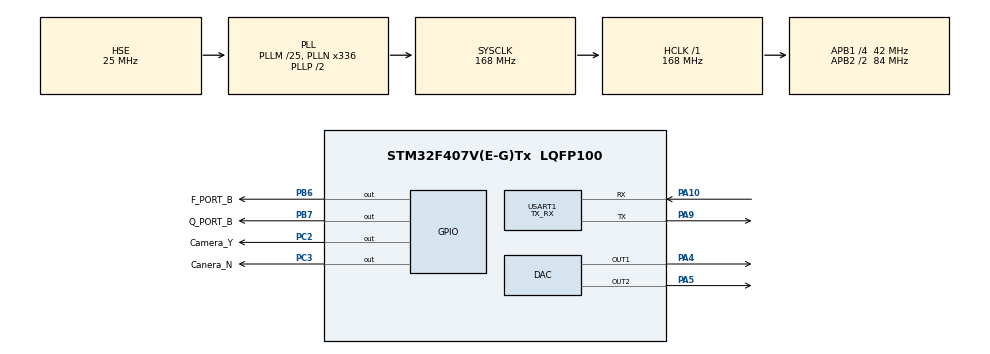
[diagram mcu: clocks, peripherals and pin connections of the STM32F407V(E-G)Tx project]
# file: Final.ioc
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DAC.DAC_OutputBuffer2=DAC_OUTPUTBUFFER_ENABLE
DAC.DAC_Trigger=DAC_TRIGGER_T6_TRGO
DAC.DAC_Trigger2=DAC_TRIGGER_NONE
DAC.TriangleAmplitude=DAC_TRIANGLEAMPLITUDE_511
DAC.WaveGeneration=TriangleWaveGeneration
Mcu.Family=STM32F4
Mcu.Name=STM32F407V(E-G)Tx
Mcu.Package=LQFP100
NVIC.PriorityGroup=NVIC_PRIORITYGROUP_4
NVIC.TIM2_IRQn=true\:3\:0\:true\:false\:true\:true\:true
NVIC.TIM3_IRQn=true\:4\:0\:true\:false\:true\:true\:true
NVIC.TIM7_IRQn=true\:2\:0\:true\:false\:true\:true\:true
NVIC.USART1_IRQn=true\:1\:0\:true\:false\:true\:true\:true
PA10.Mode=Asynchronous
PA10.Signal=USART1_RX
PA13.Mode=Serial_Wire
PA13.Signal=SYS_JTMS-SWDIO
PA14.Mode=Serial_Wire
PA14.Signal=SYS_JTCK-SWCLK
PA4.Signal=COMP_DAC1_group
PA5.Signal=COMP_DAC2_group
PA9.Mode=Asynchronous
PA9.Signal=USART1_TX
PB6.GPIO_Label=F_PORT_B
PB6.Signal=GPIO_Output
PB7.GPIO_Label=Q_PORT_B
PB7.Signal=GPIO_Output
PC2.GPIO_Label=Camera_Y
PC2.GPIO_Speed=GPIO_SPEED_FREQ_LOW
PC2.Signal=GPIO_Output
PC3.GPIO_Label=Canera_N
PC3.Signal=GPIO_Output
PH0-OSC_IN.Mode=HSE-External-Oscillator
PH0-OSC_IN.Signal=RCC_OSC_IN
PH1-OSC_OUT.Mode=HSE-External-Oscillator
PH1-OSC_OUT.Signal=RCC_OSC_OUT
ProjectManager.HeapSize=0x200
ProjectManager.StackSize=0x400
ProjectManager.TargetToolchain=MDK-ARM V5.27
RCC.48MHZClocksFreq_Value=84000000
RCC.AHBFreq_Value=168000000
RCC.APB1CLKDivider=RCC_HCLK_DIV4
RCC.APB1Freq_Value=42000000
RCC.APB1TimFreq_Value=84000000
RCC.APB2CLKDivider=RCC_HCLK_DIV2
RCC.APB2Freq_Value=84000000
RCC.APB2TimFreq_Value=168000000
RCC.CortexFreq_Value=168000000
RCC.HCLKFreq_Value=168000000
RCC.HSE_VALUE=25000000
RCC.HSI_VALUE=16000000
RCC.LSE_VALUE=32768
RCC.PLLM=25
RCC.PLLN=336
RCC.PLLSourceVirtual=RCC_PLLSOURCE_HSE
RCC.SYSCLKFreq_VALUE=168000000
RCC.SYSCLKSource=RCC_SYSCLKSOURCE_PLLCLK
RCC.VCOOutputFreq_Value=336000000
SH.COMP_DAC1_group.0=DAC_OUT1,DAC_OUT1
SH.COMP_DAC2_group.0=DAC_OUT2,DAC_OUT2
TIM2.Period=8421-1
TIM2.Prescaler=20000-1
TIM3.Period=100-1
TIM3.Prescaler=8400-1
TIM6.Period=10-1
TIM6.Prescaler=8400-1
TIM6.TIM_MasterOutputTrigger=TIM_TRGO_UPDATE
TIM7.Period=1000-1
TIM7.Prescaler=8400-1
TIM7.TIM_MasterOutputTrigger=TIM_TRGO_UPDATE
USART1.Mode=MODE_TX_RX
USART1.VirtualMode=VM_ASYNC
VP_TIM2_VS_ClockSourceINT.Mode=Internal
VP_TIM3_VS_ClockSourceINT.Mode=Internal
VP_TIM6_VS_ClockSourceINT.Mode=Enable_Timer
VP_TIM7_VS_ClockSourceINT.Mode=Enable_Timer
board=custom

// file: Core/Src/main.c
/* USER CODE BEGIN Header */
/**
  ******************************************************************************
  * @file           : main.c
  * @brief          : Main program body
  ******************************************************************************
  * @attention
  *
  * <h2><center>&copy; Copyright (c) 2021 STMicroelectronics.
  * All rights reserved.</center></h2>
  *
  * This software component is licensed by ST under BSD 3-Clause license,
  * the "License"; You may not use this file except in compliance with the
  * License. You may obtain a copy of the License at:
  *                        opensource.org/licenses/BSD-3-Clause
  *
  ******************************************************************************
  */
/* USER CODE END Header */
#include "main.h"
#include "dac.h"
#include "tim.h"
#include "usart.h"
#include "gpio.h"

/* USER CODE BEGIN Includes */

#include "stdio.h"
#include "string.h"

/* USER CODE END Includes */

/* USER CODE BEGIN PTD */
typedef enum {INIT=1,START,STOP} MT_MOTION;   //为枚举类型命名一个标签为MT_MOTION
MT_MOTION mt_motion = INIT;                   //定义一个枚举型的变量mt_motion   注：枚举类型本身就是整数类型
/* USER CODE END PTD */

/* USER CODE BEGIN PD */
#define AVERVIM  5
#define BEGINVIM 65
/* USER CODE END PD */

/* USER CODE BEGIN PV */
uint8_t uart1TX;
char RxBuffer[4];
int initial = BEGINVIM ;
int addv = AVERVIM ;
int count = 1;

//volatile uint16_t AdcRes[2];  //volatile 表示定义的变量是易变的，定时器不要优化
/* USER CODE END PV */

void SystemClock_Config(void);

/* USER CODE BEGIN 0 */
int fputc (int ch, FILE *f)   //输出重定向到串口1
{
    HAL_UART_Transmit(&huart1, (uint8_t *)&ch, 1, 1000);
    return ch;
}
/* USER CODE END 0 */

int main(void)
{

  /* MCU Configuration--------------------------------------------------------*/

  /* Reset of all peripherals, Initializes the Flash interface and the Systick. */
  HAL_Init();

  /* Configure the system clock */
  SystemClock_Config();

  /* Initialize all configured peripherals */
  MX_GPIO_Init();
  MX_DAC_Init();
  MX_TIM6_Init();
  MX_USART1_UART_Init();
  MX_TIM7_Init();
  MX_TIM2_Init();
  MX_TIM3_Init();
  /* USER CODE BEGIN 2 */
 HAL_UART_Receive_IT(&huart1,(uint8_t *)RxBuffer,3);   //开启接收中断，等待数据,3个字节进一次中断

  /* USER CODE END 2 */

  /* Infinite loop */
  /* USER CODE BEGIN WHILE */
  while (1)
  {
      switch(mt_motion)
      {
          case START:
						 HAL_TIM_Base_Start_IT(&htim2);  //开启定时器2，Y振镜输出
					   HAL_Delay(50);
						 HAL_TIM_Base_Start(&htim6);     //开启定时器6自动生成x振镜三角波
             HAL_TIM_Base_Start_IT(&htim7);  //开启定时器7且中断使能，激光输出
             mt_motion = INIT;
              break;

          case INIT:

              break;

          case STOP:
              HAL_TIM_Base_Stop(&htim6);         //停止振镜X并保持原有状态
              HAL_TIM_Base_Stop_IT(&htim7);      //停激光
					    HAL_TIM_Base_Stop_IT(&htim2);      //停Y振镜
              HAL_GPIO_WritePin(GPIOB, F_PORT_B_Pin|Q_PORT_B_Pin, GPIO_PIN_RESET);  //设置GPIO输出低电平

			}

    /* USER CODE END WHILE */

  }
}

void SystemClock_Config(void)
{
  RCC_OscInitTypeDef RCC_OscInitStruct = {0};
  RCC_ClkInitTypeDef RCC_ClkInitStruct = {0};

  /** Configure the main internal regulator output voltage
  */
  __HAL_RCC_PWR_CLK_ENABLE();
  __HAL_PWR_VOLTAGESCALING_CONFIG(PWR_REGULATOR_VOLTAGE_SCALE1);
  /** Initializes the RCC Oscillators according to the specified parameters
  * in the RCC_OscInitTypeDef structure.
  */
  RCC_OscInitStruct.OscillatorType = RCC_OSCILLATORTYPE_HSE;
  RCC_OscInitStruct.HSEState = RCC_HSE_ON;
  RCC_OscInitStruct.PLL.PLLState = RCC_PLL_ON;
  RCC_OscInitStruct.PLL.PLLSource = RCC_PLLSOURCE_HSE;
  RCC_OscInitStruct.PLL.PLLM = 25;
  RCC_OscInitStruct.PLL.PLLN = 336;
  RCC_OscInitStruct.PLL.PLLP = RCC_PLLP_DIV2;
  RCC_OscInitStruct.PLL.PLLQ = 4;
  if (HAL_RCC_OscConfig(&RCC_OscInitStruct) != HAL_OK)
  {
    Error_Handler();
  }
  /** Initializes the CPU, AHB and APB buses clocks
  */
  RCC_ClkInitStruct.ClockType = RCC_CLOCKTYPE_HCLK|RCC_CLOCKTYPE_SYSCLK
                              |RCC_CLOCKTYPE_PCLK1|RCC_CLOCKTYPE_PCLK2;
  RCC_ClkInitStruct.SYSCLKSource = RCC_SYSCLKSOURCE_PLLCLK;
  RCC_ClkInitStruct.AHBCLKDivider = RCC_SYSCLK_DIV1;
  RCC_ClkInitStruct.APB1CLKDivider = RCC_HCLK_DIV4;
  RCC_ClkInitStruct.APB2CLKDivider = RCC_HCLK_DIV2;

  if (HAL_RCC_ClockConfig(&RCC_ClkInitStruct, FLASH_LATENCY_5) != HAL_OK)
  {
    Error_Handler();
  }
}

/* USER CODE BEGIN 4 */
void HAL_UART_RxCpltCallback(UART_HandleTypeDef* huart)  //串口中断回调函数
{

    if(strcmp(RxBuffer,"stt") == 0 )
    {
			  printf("Start to work");
        mt_motion = START;
    }

    else if(strcmp(RxBuffer,"stp") == 0)
    {
			  printf("Stop working");
        mt_motion = STOP;
    }

		else
		{
			  printf("Please select another keys");
		}
    HAL_UART_Receive_IT(&huart1,(uint8_t *)RxBuffer,3 );     //开启接收中断

}

void HAL_TIM_PeriodElapsedCallback(TIM_HandleTypeDef *htim)    //定时器7激光器中断回调函数
{

  if (htim->Instance == htim7.Instance)
	{
     HAL_GPIO_WritePin(GPIOB, F_PORT_B_Pin, GPIO_PIN_SET);
     for(int i = 0; i < 2002; i++); //48us
     HAL_GPIO_WritePin(GPIOB, F_PORT_B_Pin, GPIO_PIN_RESET);
		HAL_GPIO_WritePin(GPIOC, Camera_Y_Pin, GPIO_PIN_SET);
	   for(int i = 0; i < 6802; i++); //196us
		HAL_GPIO_WritePin(GPIOC, Camera_Y_Pin, GPIO_PIN_RESET);
     HAL_GPIO_WritePin(GPIOB, Q_PORT_B_Pin, GPIO_PIN_SET);
     for(int i = 0; i < 2002; i++); //48us
     HAL_GPIO_WritePin(GPIOB, Q_PORT_B_Pin, GPIO_PIN_RESET);

	}

	if (htim->Instance == htim2.Instance)
	{
		HAL_DAC_SetValue(&hdac, DAC_CHANNEL_2, DAC_ALIGN_12B_R, initial);
		initial += addv;
	}

	/*if (htim->Instance == htim3.Instance)
	{
		HAL_GPIO_WritePin(GPIOC, Camera_Y_Pin, GPIO_PIN_SET);
		for(int i = 0;i < 2000;i++);
		HAL_GPIO_WritePin(GPIOC, Camera_Y_Pin, GPIO_PIN_RESET);
	}*/

}

/* USER CODE END 4 */

void Error_Handler(void)
{
  __disable_irq();
  while (1)
  {
  }
}

/************************ (C) COPYRIGHT STMicroelectronics *****END OF FILE****/
